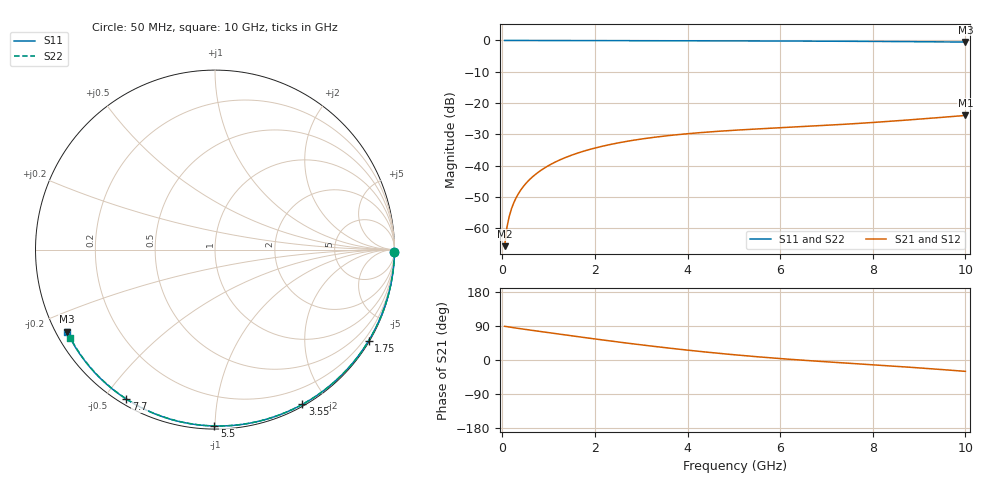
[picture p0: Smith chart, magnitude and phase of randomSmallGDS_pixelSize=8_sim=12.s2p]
! freq	dB(S11)	phase(S11)	dB(S12)	phase(S12)
!  dB(S21)	phase(S21)	dB(S22)	phase(S22)
!S-par simulation data
#  GHz  S  DB  R 50
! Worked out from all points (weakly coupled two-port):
!   200 points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, 50 MHz to 10 GHz, reference 50 ohm
!   highest |S21| = -23.94 dB at 10 GHz (marker M1); lowest = -65.7 dB at 50 MHz (marker M2)
!   lowest |S11| = -0.5 dB at 10 GHz (marker M3), VSWR 34.16, Z = 1.56 - j12.9 ohm
!   |S11| at or under -10 dB: nowhere
!   |S22| runs from -0.5 to 0.0 dB; largest |S21 - S12| = 0
!   S11 on the Smith chart (normalised r, x): 50 MHz: open; 1.75 GHz: 0.03, -3.64; 3.55 GHz: 0.02, -1.71; 5.5 GHz: 0.02, -1.00; 7.7 GHz: 0.02, -0.57; 10 GHz: 0.03, -0.26
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0.05  -0.00 -0.9  -65.66 89.0  -65.66 89.0  -0.00 -0.9
0.1  -0.00 -1.8  -59.65 88.0  -59.65 88.0  -0.00 -1.8
0.15  -0.00 -2.7  -56.14 87.0  -56.14 87.0  -0.00 -2.6
0.2  -0.00 -3.6  -53.66 86.0  -53.66 86.0  -0.00 -3.5
0.25  -0.00 -4.5  -51.74 85.1  -51.74 85.1  -0.00 -4.4
0.35  -0.00 -6.3  -48.85 83.3  -48.85 83.3  -0.00 -6.1
0.5  -0.01 -8.9  -45.80 80.7  -45.80 80.7  -0.01 -8.8
0.7  -0.01 -12.5  -42.94 77.3  -42.94 77.3  -0.01 -12.2
1  -0.02 -17.7  -39.93 72.2  -39.93 72.2  -0.02 -17.4
1.35  -0.03 -23.8  -37.45 66.3  -37.45 66.3  -0.03 -23.4
1.75  -0.04 -30.7  -35.37 59.6  -35.37 59.6  -0.04 -30.2
2.5  -0.06 -43.4  -32.70 47.6  -32.70 47.6  -0.06 -42.6
3.4  -0.08 -58.2  -30.69 34.2  -30.69 34.2  -0.08 -57.1
3.55  -0.08 -60.6  -30.43 32.1  -30.43 32.1  -0.08 -59.5
4.3  -0.11 -72.3  -29.39 22.2  -29.39 22.2  -0.10 -71.1
5.05  -0.13 -83.6  -28.63 13.4  -28.63 13.4  -0.13 -82.2
5.5  -0.15 -90.2  -28.25 8.6  -28.25 8.6  -0.15 -88.7
6.7  -0.21 -107.1  -27.32 -2.4  -27.32 -2.4  -0.21 -105.4
7.7  -0.28 -120.7  -26.47 -10.3  -26.47 -10.3  -0.27 -118.7
8.35  -0.33 -129.3  -25.82 -15.4  -25.82 -15.4  -0.33 -127.2
9.2  -0.42 -140.5  -24.88 -22.6  -24.88 -22.6  -0.41 -138.2
10  -0.51 -151.1  -23.94 -30.0  -23.94 -30.0  -0.50 -148.6
